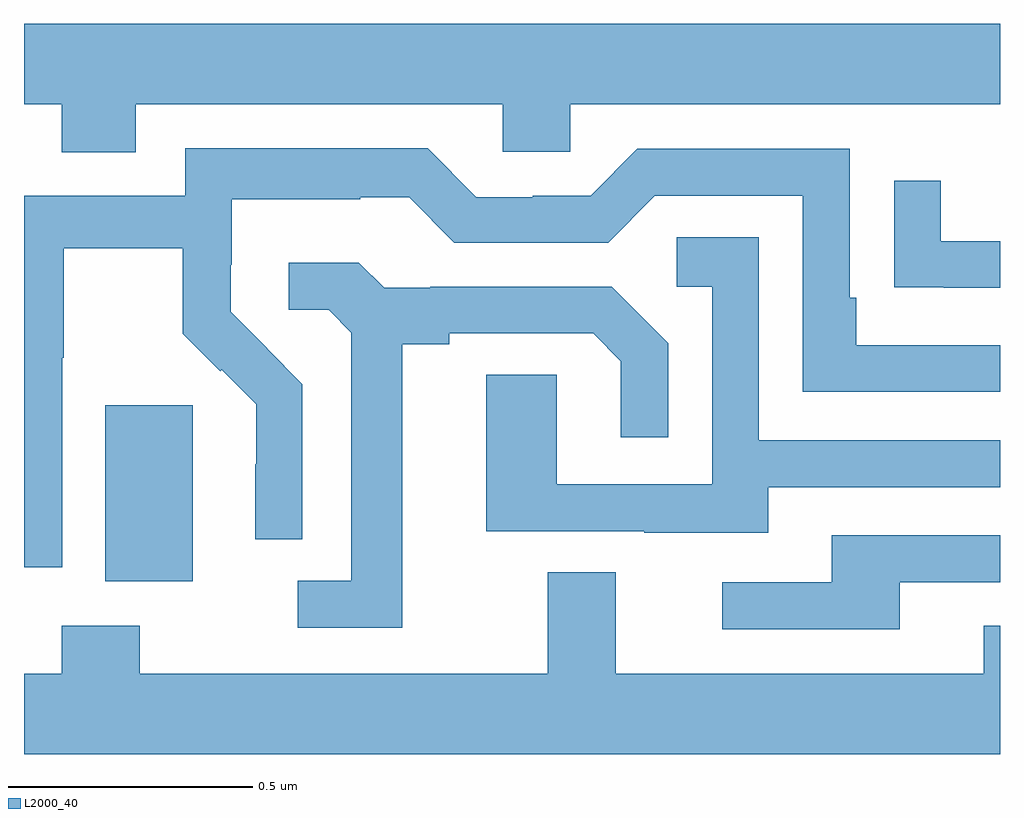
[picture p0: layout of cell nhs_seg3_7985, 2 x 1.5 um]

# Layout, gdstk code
import gdstk
lib = gdstk.Library(unit=1e-6, precision=1e-09)
def R(c, l, rs):  # rectangles x0, y0, x1, y1
    for r in rs: c.add(gdstk.rectangle(r[:2], r[2:], *l))
def P(c, l, *ps):  # polygons
    for p in ps: c.add(gdstk.Polygon(p, *l))
L2000_40 = (2000, 40)

nhs_seg3_7985 = lib.new_cell('nhs_seg3_7985')
R(nhs_seg3_7985, L2000_40, [(210.167,715.922,210.346,716.283)])
P(nhs_seg3_7985, L2000_40, [(210.229,716.9),(210.981,716.9),(210.981,716.802),(211.119,716.802),(211.119,716.9),(212,716.9),(212,717.064),(210,717.064),(210,716.9),(210.077,716.9),(210.077,716.801),(210.229,716.801)],
  [(210.078,716.38),(210.081,716.38),(210.081,716.604),(210.325,716.604),(210.325,716.429),(210.402,716.352),(210.405,716.355),(210.476,716.285),(210.476,716.162),(210.474,716.162),(210.474,716.008),(210.57,716.008),(210.57,716.326),(210.497,716.399),(210.498,716.4),(210.424,716.474),(210.424,716.571),(210.426,716.571),(210.426,716.705),(210.689,716.705),(210.689,716.709),(210.789,716.709),(210.882,716.616),(211.197,716.616),(211.293,716.712),(211.596,716.712),(211.596,716.31),(212,716.31),(212,716.406),(211.705,716.406),(211.705,716.503),(211.692,716.503),(211.692,716.808),(211.257,716.808),(211.161,716.712),(211.043,716.712),(211.043,716.709),(210.927,716.709),(210.827,716.809),(210.33,716.809),(210.33,716.712),(210,716.712),(210,715.951),(210.078,715.951)],
  [(212,716.619),(211.879,716.619),(211.879,716.743),(211.783,716.743),(211.783,716.524),(211.885,716.524),(211.885,716.523),(212,716.523)],
  [(211.525,716.115),(212,716.115),(212,716.211),(211.506,716.211),(211.506,716.627),(211.338,716.627),(211.338,716.526),(211.41,716.526),(211.41,716.121),(211.092,716.121),(211.092,716.345),(210.947,716.345),(210.947,716.025),(211.271,716.025),(211.271,716.021),(211.525,716.021)],
  [(210.775,716.408),(210.871,716.408),(210.871,716.43),(211.166,716.43),(211.223,716.373),(211.223,716.217),(211.32,716.217),(211.32,716.41),(211.204,716.526),(210.832,716.526),(210.832,716.523),(210.738,716.523),(210.686,716.575),(210.543,716.575),(210.543,716.478),(210.624,716.478),(210.671,716.431),(210.671,715.923),(210.561,715.923),(210.561,715.827),(210.775,715.827)],
  [(211.795,715.92),(212,715.92),(212,716.016),(211.655,716.016),(211.655,715.92),(211.431,715.92),(211.431,715.824),(211.795,715.824)],
  [(212,715.831),(211.967,715.831),(211.967,715.732),(211.213,715.732),(211.213,715.94),(211.073,715.94),(211.073,715.732),(210.237,715.732),(210.237,715.831),(210.077,715.831),(210.077,715.732),(210,715.732),(210,715.568),(212,715.568)])

lib.write_gds('nhs_seg3_7985.gds')
